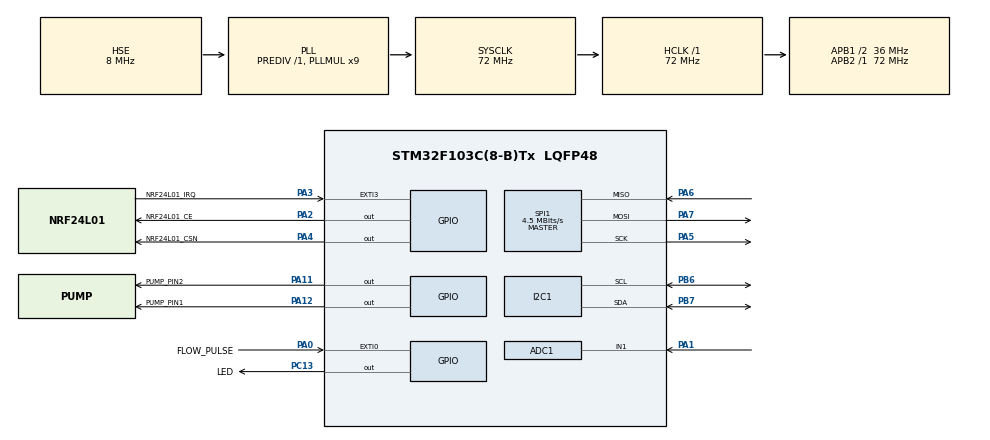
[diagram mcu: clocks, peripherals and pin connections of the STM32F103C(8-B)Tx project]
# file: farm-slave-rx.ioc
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ADC1.Channel-2\#ChannelRegularConversion=ADC_CHANNEL_1
ADC1.ContinuousConvMode=ENABLE
ADC1.EnableRegularConversion=ENABLE
ADC1.NbrOfConversionFlag=1
ADC1.Rank-2\#ChannelRegularConversion=1
ADC1.SamplingTime-2\#ChannelRegularConversion=ADC_SAMPLETIME_239CYCLES_5
ADC1.master=1
Dma.ADC1.0.Direction=DMA_PERIPH_TO_MEMORY
Dma.ADC1.0.Instance=DMA1_Channel1
Dma.ADC1.0.MemDataAlignment=DMA_MDATAALIGN_HALFWORD
Dma.ADC1.0.MemInc=DMA_MINC_ENABLE
Dma.ADC1.0.Mode=DMA_CIRCULAR
Dma.ADC1.0.PeriphDataAlignment=DMA_PDATAALIGN_HALFWORD
Dma.ADC1.0.PeriphInc=DMA_PINC_DISABLE
Dma.ADC1.0.Priority=DMA_PRIORITY_LOW
Dma.Request0=ADC1
Mcu.Family=STM32F1
Mcu.Name=STM32F103C(8-B)Tx
Mcu.Package=LQFP48
NVIC.DMA1_Channel1_IRQn=true\:0\:0\:false\:false\:true\:false\:true\:true
NVIC.EXTI0_IRQn=true\:2\:0\:true\:false\:true\:true\:true\:true
NVIC.EXTI3_IRQn=true\:1\:0\:true\:false\:true\:true\:true\:true
NVIC.PriorityGroup=NVIC_PRIORITYGROUP_4
NVIC.TIM2_IRQn=true\:0\:0\:false\:false\:true\:true\:true\:true
NVIC.TIM3_IRQn=true\:1\:0\:true\:false\:true\:true\:true\:true
PA0-WKUP.GPIO_Label=FLOW_PULSE
PA0-WKUP.GPIO_PuPd=GPIO_PULLUP
PA0-WKUP.Signal=GPXTI0
PA1.Signal=ADCx_IN1
PA11.GPIO_Label=PUMP_PIN2
PA11.Signal=GPIO_Output
PA12.GPIO_Label=PUMP_PIN1
PA12.Signal=GPIO_Output
PA13.Mode=Serial_Wire
PA13.Signal=SYS_JTMS-SWDIO
PA14.Mode=Serial_Wire
PA14.Signal=SYS_JTCK-SWCLK
PA2.GPIO_Label=NRF24L01_CE
PA2.Signal=GPIO_Output
PA3.GPIO_Label=NRF24L01_IRQ
PA3.GPIO_ModeDefaultEXTI=GPIO_MODE_IT_FALLING
PA3.GPIO_PuPd=GPIO_PULLUP
PA3.Signal=GPXTI3
PA4.GPIO_Label=NRF24L01_CSN
PA4.Signal=GPIO_Output
PA5.Mode=Full_Duplex_Master
PA5.Signal=SPI1_SCK
PA6.Mode=Full_Duplex_Master
PA6.Signal=SPI1_MISO
PA7.Mode=Full_Duplex_Master
PA7.Signal=SPI1_MOSI
PB6.Mode=I2C
PB6.Signal=I2C1_SCL
PB7.Mode=I2C
PB7.Signal=I2C1_SDA
PC13-TAMPER-RTC.GPIO_Label=LED
PC13-TAMPER-RTC.Signal=GPIO_Output
PD0-OSC_IN.Mode=HSE-External-Oscillator
PD0-OSC_IN.Signal=RCC_OSC_IN
PD1-OSC_OUT.Mode=HSE-External-Oscillator
PD1-OSC_OUT.Signal=RCC_OSC_OUT
ProjectManager.HeapSize=0x200
ProjectManager.StackSize=0x400
ProjectManager.TargetToolchain=CMake
RCC.ADCPresc=RCC_ADCPCLK2_DIV8
RCC.AHBFreq_Value=72000000
RCC.APB1CLKDivider=RCC_HCLK_DIV2
RCC.APB1Freq_Value=36000000
RCC.APB1TimFreq_Value=72000000
RCC.APB2Freq_Value=72000000
RCC.APB2TimFreq_Value=72000000
RCC.HCLKFreq_Value=72000000
RCC.PLLMUL=RCC_PLL_MUL9
RCC.PLLSourceVirtual=RCC_PLLSOURCE_HSE
RCC.SYSCLKFreq_VALUE=72000000
RCC.SYSCLKSource=RCC_SYSCLKSOURCE_PLLCLK
RCC.USBFreq_Value=72000000
SH.ADCx_IN1.0=ADC1_IN1,IN1
SPI1.BaudRatePrescaler=SPI_BAUDRATEPRESCALER_16
SPI1.CalculateBaudRate=4.5 MBits/s
SPI1.Direction=SPI_DIRECTION_2LINES
SPI1.Mode=SPI_MODE_MASTER
SPI1.VirtualType=VM_MASTER
TIM2.Prescaler=71
TIM3.Period=64934
TIM3.Prescaler=5543
VP_TIM2_VS_ClockSourceINT.Mode=Internal
VP_TIM3_VS_ClockSourceINT.Mode=Internal
board=custom

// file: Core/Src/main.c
/* USER CODE BEGIN Header */
/**
  ******************************************************************************
  * @file           : main.c
  * @brief          : Main program body
  ******************************************************************************
  * @attention
  *
  * Copyright (c) 2025 STMicroelectronics.
  * All rights reserved.
  *
  * This software is licensed under terms that can be found in the LICENSE file
  * in the root directory of this software component.
  * If no LICENSE file comes with this software, it is provided AS-IS.
  *
  ******************************************************************************
  */
/* USER CODE END Header */
#include "main.h"

/* USER CODE BEGIN Includes */
#include "nrf24l01.h"
#include "AHT20.h"
#include "protocol.h"
#include "pump.h"
/* USER CODE END Includes */

ADC_HandleTypeDef hadc1;
DMA_HandleTypeDef hdma_adc1;

I2C_HandleTypeDef hi2c1;

SPI_HandleTypeDef hspi1;

TIM_HandleTypeDef htim2;
TIM_HandleTypeDef htim3;

/* USER CODE BEGIN PV */
nrf24l01_device radio_slave = {
};
uint8_t rx_payload[MASTER_PACKET_SIZE];
uint8_t tx_payload[SLAVE_PACKET_SIZE];
uint8_t omitted_payload[MASTER_PACKET_SIZE];
uint8_t rx_data_ready = 0;  // new data available in rx fifo flag, set when receive new packet,
uint8_t tx_data_sent = 0;
uint8_t max_retransmit = 0;
uint8_t command = 0;
float humidity = 0;
float temperature = 0;
volatile uint16_t moisture = 0;
uint8_t motor_status = 0;
slave slave1;
slave_packet s_pkt;
master_packet m_pkt;
uint32_t flow_count = 0;
/* USER CODE END PV */

void SystemClock_Config(void);
static void MX_GPIO_Init(void);
static void MX_DMA_Init(void);
static void MX_SPI1_Init(void);
static void MX_TIM2_Init(void);
static void MX_ADC1_Init(void);
static void MX_I2C1_Init(void);
static void MX_TIM3_Init(void);
/* USER CODE BEGIN PFP */
void request_handler();
void read_sensor_values();
void update_slave_ack_payload();
void slave_motor(motor_param param);
void slave_measure();

/* USER CODE END PFP */

int main(void)
{

  /* MCU Configuration--------------------------------------------------------*/

  /* Reset of all peripherals, Initializes the Flash interface and the Systick. */
  HAL_Init();

  /* Configure the system clock */
  SystemClock_Config();

  /* Initialize all configured peripherals */
  MX_GPIO_Init();
  MX_DMA_Init();
  MX_SPI1_Init();
  MX_TIM2_Init();
  MX_ADC1_Init();
  MX_I2C1_Init();
  MX_TIM3_Init();
  /* USER CODE BEGIN 2 */

  /* nrf24l01 initializing sequence */
  radio_slave = nrf24l01_get_default_config();
  radio_slave.primary_rx = 1;
  radio_slave.auto_retransmit_delay = nrf24l01_auto_retransmit_delay_4000us;
  radio_slave.auto_retransmit_count = nrf24l01_auto_retransmit_count_15;
  radio_slave.data_pipe[0].nrf24l01_data_pipe_payload_width = SLAVE_PACKET_SIZE;
  radio_slave.spi = &hspi1;
  radio_slave.ce_port = GPIOA;
  radio_slave.ce_pin = GPIO_PIN_2;
  radio_slave.csn_port = GPIOA;
  radio_slave.csn_pin = GPIO_PIN_4;
  radio_slave.irq_port = GPIOA;
  radio_slave.irq_pin = GPIO_PIN_3;
  radio_slave.timer = &htim2;
  nrf24l01_init(&radio_slave);
  nrf24l01_power_up(&radio_slave);
  nrf24l01_activate_extra_features(&radio_slave);
  nrf24l01_payload_with_ack(&radio_slave, 1);
  nrf24l01_dynamic_payload_length(&radio_slave, 1);
  nrf24l01_data_pipe_dynamic_payload_length(&radio_slave, 0, 1);
  nrf24l01_flush_rx(&radio_slave);
  nrf24l01_flush_tx(&radio_slave);

  /* initialize aht20 module */
  AHT20_Init(&hi2c1);

  /* initialize pump */
  Pump_Init(GPIOA, PUMP_PIN1_Pin, PUMP_PIN2_Pin);

  read_sensor_values();

  /* initialize slave device */
  slave_init(&slave1, update_slave_ack_payload, slave_motor, slave_measure);
  update_slave_ack_payload();

  /* nrf24l01 start listening */
  nrf24l01_listen(&radio_slave);

  /* debug */
//  uint8_t fifo_status = 0;
//  nrf24l01_read_register(&radio_slave, FIFO_STATUS, &fifo_status, 1);
  HAL_GPIO_WritePin(LED_GPIO_Port, LED_Pin, GPIO_PIN_SET)  ;
  /* debug */

  /* USER CODE END 2 */

  /* Infinite loop */
  while (1)
  {

    /* USER CODE BEGIN 3 */

    /* flags poiling sequence */

    if (rx_data_ready) {
      nrf24l01_read_rx_payload(&radio_slave, rx_payload, MASTER_PACKET_SIZE);
      deserialize_master_packet(&m_pkt, rx_payload);

      // call new packet hanlder function here...
      if (slave1.status != processing){
        request_handler();
        nrf24l01_flush_rx(&radio_slave);
        rx_data_ready = 0; // Reset cờ báo có dữ liệu vì ta vừa xóa sạch rồi
      }
    }
  }
  /* USER CODE END 3 */
}

void SystemClock_Config(void)
{
  RCC_OscInitTypeDef RCC_OscInitStruct = {0};
  RCC_ClkInitTypeDef RCC_ClkInitStruct = {0};
  RCC_PeriphCLKInitTypeDef PeriphClkInit = {0};

  /** Initializes the RCC Oscillators according to the specified parameters
  * in the RCC_OscInitTypeDef structure.
  */
  RCC_OscInitStruct.OscillatorType = RCC_OSCILLATORTYPE_HSE;
  RCC_OscInitStruct.HSEState = RCC_HSE_ON;
  RCC_OscInitStruct.HSEPredivValue = RCC_HSE_PREDIV_DIV1;
  RCC_OscInitStruct.HSIState = RCC_HSI_ON;
  RCC_OscInitStruct.PLL.PLLState = RCC_PLL_ON;
  RCC_OscInitStruct.PLL.PLLSource = RCC_PLLSOURCE_HSE;
  RCC_OscInitStruct.PLL.PLLMUL = RCC_PLL_MUL9;
  if (HAL_RCC_OscConfig(&RCC_OscInitStruct) != HAL_OK)
  {
    Error_Handler();
  }

  /** Initializes the CPU, AHB and APB buses clocks
  */
  RCC_ClkInitStruct.ClockType = RCC_CLOCKTYPE_HCLK|RCC_CLOCKTYPE_SYSCLK
                              |RCC_CLOCKTYPE_PCLK1|RCC_CLOCKTYPE_PCLK2;
  RCC_ClkInitStruct.SYSCLKSource = RCC_SYSCLKSOURCE_PLLCLK;
  RCC_ClkInitStruct.AHBCLKDivider = RCC_SYSCLK_DIV1;
  RCC_ClkInitStruct.APB1CLKDivider = RCC_HCLK_DIV2;
  RCC_ClkInitStruct.APB2CLKDivider = RCC_HCLK_DIV1;

  if (HAL_RCC_ClockConfig(&RCC_ClkInitStruct, FLASH_LATENCY_2) != HAL_OK)
  {
    Error_Handler();
  }
  PeriphClkInit.PeriphClockSelection = RCC_PERIPHCLK_ADC;
  PeriphClkInit.AdcClockSelection = RCC_ADCPCLK2_DIV8;
  if (HAL_RCCEx_PeriphCLKConfig(&PeriphClkInit) != HAL_OK)
  {
    Error_Handler();
  }
}

static void MX_ADC1_Init(void)
{

  ADC_ChannelConfTypeDef sConfig = {0};

  /** Common config
  */
  hadc1.Instance = ADC1;
  hadc1.Init.ScanConvMode = ADC_SCAN_DISABLE;
  hadc1.Init.ContinuousConvMode = ENABLE;
  hadc1.Init.DiscontinuousConvMode = DISABLE;
  hadc1.Init.ExternalTrigConv = ADC_SOFTWARE_START;
  hadc1.Init.DataAlign = ADC_DATAALIGN_RIGHT;
  hadc1.Init.NbrOfConversion = 1;
  if (HAL_ADC_Init(&hadc1) != HAL_OK)
  {
    Error_Handler();
  }

  /** Configure Regular Channel
  */
  sConfig.Channel = ADC_CHANNEL_1;
  sConfig.Rank = ADC_REGULAR_RANK_1;
  sConfig.SamplingTime = ADC_SAMPLETIME_239CYCLES_5;
  if (HAL_ADC_ConfigChannel(&hadc1, &sConfig) != HAL_OK)
  {
    Error_Handler();
  }

}

static void MX_I2C1_Init(void)
{

  hi2c1.Instance = I2C1;
  hi2c1.Init.ClockSpeed = 100000;
  hi2c1.Init.DutyCycle = I2C_DUTYCYCLE_2;
  hi2c1.Init.OwnAddress1 = 0;
  hi2c1.Init.AddressingMode = I2C_ADDRESSINGMODE_7BIT;
  hi2c1.Init.DualAddressMode = I2C_DUALADDRESS_DISABLE;
  hi2c1.Init.OwnAddress2 = 0;
  hi2c1.Init.GeneralCallMode = I2C_GENERALCALL_DISABLE;
  hi2c1.Init.NoStretchMode = I2C_NOSTRETCH_DISABLE;
  if (HAL_I2C_Init(&hi2c1) != HAL_OK)
  {
    Error_Handler();
  }

}

static void MX_SPI1_Init(void)
{

  /* SPI1 parameter configuration*/
  hspi1.Instance = SPI1;
  hspi1.Init.Mode = SPI_MODE_MASTER;
  hspi1.Init.Direction = SPI_DIRECTION_2LINES;
  hspi1.Init.DataSize = SPI_DATASIZE_8BIT;
  hspi1.Init.CLKPolarity = SPI_POLARITY_LOW;
  hspi1.Init.CLKPhase = SPI_PHASE_1EDGE;
  hspi1.Init.NSS = SPI_NSS_SOFT;
  hspi1.Init.BaudRatePrescaler = SPI_BAUDRATEPRESCALER_16;
  hspi1.Init.FirstBit = SPI_FIRSTBIT_MSB;
  hspi1.Init.TIMode = SPI_TIMODE_DISABLE;
  hspi1.Init.CRCCalculation = SPI_CRCCALCULATION_DISABLE;
  hspi1.Init.CRCPolynomial = 10;
  if (HAL_SPI_Init(&hspi1) != HAL_OK)
  {
    Error_Handler();
  }

}

static void MX_TIM2_Init(void)
{

  TIM_ClockConfigTypeDef sClockSourceConfig = {0};
  TIM_MasterConfigTypeDef sMasterConfig = {0};

  htim2.Instance = TIM2;
  htim2.Init.Prescaler = 71;
  htim2.Init.CounterMode = TIM_COUNTERMODE_UP;
  htim2.Init.Period = 65535;
  htim2.Init.ClockDivision = TIM_CLOCKDIVISION_DIV1;
  htim2.Init.AutoReloadPreload = TIM_AUTORELOAD_PRELOAD_DISABLE;
  if (HAL_TIM_Base_Init(&htim2) != HAL_OK)
  {
    Error_Handler();
  }
  sClockSourceConfig.ClockSource = TIM_CLOCKSOURCE_INTERNAL;
  if (HAL_TIM_ConfigClockSource(&htim2, &sClockSourceConfig) != HAL_OK)
  {
    Error_Handler();
  }
  sMasterConfig.MasterOutputTrigger = TIM_TRGO_RESET;
  sMasterConfig.MasterSlaveMode = TIM_MASTERSLAVEMODE_DISABLE;
  if (HAL_TIMEx_MasterConfigSynchronization(&htim2, &sMasterConfig) != HAL_OK)
  {
    Error_Handler();
  }

}

static void MX_TIM3_Init(void)
{

  TIM_ClockConfigTypeDef sClockSourceConfig = {0};
  TIM_MasterConfigTypeDef sMasterConfig = {0};

  htim3.Instance = TIM3;
  htim3.Init.Prescaler = 5543;
  htim3.Init.CounterMode = TIM_COUNTERMODE_UP;
  htim3.Init.Period = 64934;
  htim3.Init.ClockDivision = TIM_CLOCKDIVISION_DIV1;
  htim3.Init.AutoReloadPreload = TIM_AUTORELOAD_PRELOAD_DISABLE;
  if (HAL_TIM_Base_Init(&htim3) != HAL_OK)
  {
    Error_Handler();
  }
  sClockSourceConfig.ClockSource = TIM_CLOCKSOURCE_INTERNAL;
  if (HAL_TIM_ConfigClockSource(&htim3, &sClockSourceConfig) != HAL_OK)
  {
    Error_Handler();
  }
  sMasterConfig.MasterOutputTrigger = TIM_TRGO_RESET;
  sMasterConfig.MasterSlaveMode = TIM_MASTERSLAVEMODE_DISABLE;
  if (HAL_TIMEx_MasterConfigSynchronization(&htim3, &sMasterConfig) != HAL_OK)
  {
    Error_Handler();
  }

}

static void MX_DMA_Init(void)
{

  /* DMA controller clock enable */
  __HAL_RCC_DMA1_CLK_ENABLE();

  /* DMA interrupt init */
  /* DMA1_Channel1_IRQn interrupt configuration */
  HAL_NVIC_SetPriority(DMA1_Channel1_IRQn, 0, 0);
  HAL_NVIC_EnableIRQ(DMA1_Channel1_IRQn);

}

static void MX_GPIO_Init(void)
{
  GPIO_InitTypeDef GPIO_InitStruct = {0};

  /* GPIO Ports Clock Enable */
  __HAL_RCC_GPIOC_CLK_ENABLE();
  __HAL_RCC_GPIOD_CLK_ENABLE();
  __HAL_RCC_GPIOA_CLK_ENABLE();
  __HAL_RCC_GPIOB_CLK_ENABLE();

  /*Configure GPIO pin Output Level */
  HAL_GPIO_WritePin(LED_GPIO_Port, LED_Pin, GPIO_PIN_RESET);

  /*Configure GPIO pin Output Level */
  HAL_GPIO_WritePin(GPIOA, NRF24L01_CE_Pin|NRF24L01_CSN_Pin|PUMP_PIN2_Pin|PUMP_PIN1_Pin, GPIO_PIN_RESET);

  /*Configure GPIO pin : LED_Pin */
  GPIO_InitStruct.Pin = LED_Pin;
  GPIO_InitStruct.Mode = GPIO_MODE_OUTPUT_PP;
  GPIO_InitStruct.Pull = GPIO_NOPULL;
  GPIO_InitStruct.Speed = GPIO_SPEED_FREQ_LOW;
  HAL_GPIO_Init(LED_GPIO_Port, &GPIO_InitStruct);

  /*Configure GPIO pin : FLOW_PULSE_Pin */
  GPIO_InitStruct.Pin = FLOW_PULSE_Pin;
  GPIO_InitStruct.Mode = GPIO_MODE_IT_RISING;
  GPIO_InitStruct.Pull = GPIO_PULLUP;
  HAL_GPIO_Init(FLOW_PULSE_GPIO_Port, &GPIO_InitStruct);

  /*Configure GPIO pins : NRF24L01_CE_Pin NRF24L01_CSN_Pin PUMP_PIN2_Pin PUMP_PIN1_Pin */
  GPIO_InitStruct.Pin = NRF24L01_CE_Pin|NRF24L01_CSN_Pin|PUMP_PIN2_Pin|PUMP_PIN1_Pin;
  GPIO_InitStruct.Mode = GPIO_MODE_OUTPUT_PP;
  GPIO_InitStruct.Pull = GPIO_NOPULL;
  GPIO_InitStruct.Speed = GPIO_SPEED_FREQ_LOW;
  HAL_GPIO_Init(GPIOA, &GPIO_InitStruct);

  /*Configure GPIO pin : NRF24L01_IRQ_Pin */
  GPIO_InitStruct.Pin = NRF24L01_IRQ_Pin;
  GPIO_InitStruct.Mode = GPIO_MODE_IT_FALLING;
  GPIO_InitStruct.Pull = GPIO_PULLUP;
  HAL_GPIO_Init(NRF24L01_IRQ_GPIO_Port, &GPIO_InitStruct);

  /* EXTI interrupt init*/
  HAL_NVIC_SetPriority(EXTI0_IRQn, 2, 0);
  HAL_NVIC_EnableIRQ(EXTI0_IRQn);

  HAL_NVIC_SetPriority(EXTI3_IRQn, 1, 0);
  HAL_NVIC_EnableIRQ(EXTI3_IRQn);

}

/* USER CODE BEGIN 4 */
void HAL_GPIO_EXTI_Callback(uint16_t GPIO_Pin){
  if(GPIO_Pin == NRF24L01_IRQ_Pin){
    static uint8_t status = 0;
    nrf24l01_read_register(&radio_slave, STATUS, &status, 1);

    if(READ_BIT(status, RX_DR)){
      nrf24l01_clear_interrupt_flag(&radio_slave, nrf24l01_irq_rx_data_ready);
      if (slave1.status == processing){
        rx_data_ready = 1;
        nrf24l01_flush_rx(&radio_slave);
      }
      else
        rx_data_ready = 1;
    }

    if (READ_BIT(status, TX_DS)){
      tx_data_sent = 1;
      nrf24l01_clear_interrupt_flag(&radio_slave, nrf24l01_irq_tx_data_sent);
    }

    if (READ_BIT(status, MAX_RT)){
      max_retransmit = 1;
      nrf24l01_clear_interrupt_flag(&radio_slave, nrf24l01_maximum_retransmitted);
    }
    nrf24l01_listen(&radio_slave);
  }

  if (GPIO_Pin == FLOW_PULSE_Pin){
    flow_count += 1;
    __HAL_TIM_SET_COUNTER(&htim3, 0);
  }
}

void update_slave_ack_payload(){
  nrf24l01_flush_tx(&radio_slave);
  assemble_slave_packet(&s_pkt, slave1.status, temperature, humidity, moisture/4095.0 * 100, motor_status);
  serialize_slave_packet(&s_pkt, tx_payload);
  nrf24l01_write_ack_payload(&radio_slave, tx_payload, 0 , SLAVE_PACKET_SIZE);
}

void slave_motor(motor_param param){
  slave1.status = processing;
  update_slave_ack_payload();

  if (param == motor_off){
    HAL_TIM_Base_Stop_IT(&htim3);
    Pump_Off();
    motor_status = 0;
    HAL_GPIO_WritePin(LED_GPIO_Port, LED_Pin, GPIO_PIN_SET);
    slave1.status = success;
    update_slave_ack_payload();
  }
  else if (param == motor_on){
    htim3.Instance->CNT = 0;
    Pump_On();
    uint32_t a = flow_count;
    uint32_t tick = HAL_GetTick();
    while (flow_count - a < 10){
      if (HAL_GetTick() - tick > 9999) {
        slave1.status = error;
        update_slave_ack_payload();
        motor_status = 0;
        Pump_Off();
        return;
      }
    };
    motor_status = 1;
    HAL_GPIO_WritePin(LED_GPIO_Port, LED_Pin, GPIO_PIN_RESET);
    slave1.status = success;
    update_slave_ack_payload();
    HAL_TIM_Base_Start_IT(&htim3);
  }
  else {
    slave1.status = error;
    update_slave_ack_payload();
  }
}

void slave_measure(){
  // the slave enter processing state
  slave1.status = processing;
  update_slave_ack_payload();

  // simulate reading sensors data
//  HAL_Delay(500);
  read_sensor_values();

  slave1.status = success;
  update_slave_ack_payload();
}

void request_handler(){
  switch (m_pkt.cmd) {
    case get_status:
      slave1.get_status_handler();
      break;
    case motor:
      slave1.motor_handler(m_pkt.param);
      break;
    case measure:
      slave1.measure_handler();
      break;
    default:
      update_slave_ack_payload();
      break;
  }
}

void HAL_TIM_PeriodElapsedCallback(TIM_HandleTypeDef *htim){
  if (htim->Instance == htim3.Instance && motor_status == 1){
    slave1.status = error;
    update_slave_ack_payload();
  }
}

void read_sensor_values(){
  HAL_ADC_Start(&hadc1);
  if (HAL_ADC_PollForConversion(&hadc1, 100) == HAL_OK) {
    moisture = HAL_ADC_GetValue(&hadc1);
  }
  HAL_ADC_Stop(&hadc1);
  AHT20_Measure(&humidity, &temperature);
}
/* USER CODE END 4 */

void Error_Handler(void)
{
  __disable_irq();
  while (1)
  {
  }
}
